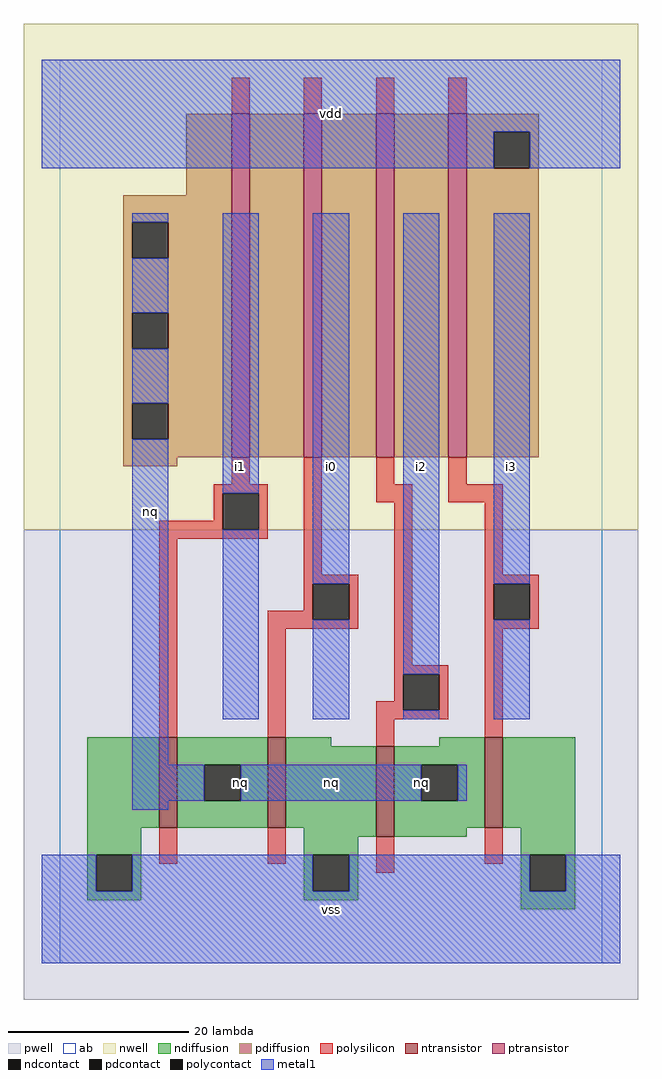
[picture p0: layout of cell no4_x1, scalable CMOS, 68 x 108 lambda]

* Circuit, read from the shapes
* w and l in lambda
.subckt no4_x1 i0 i1 i2 i3 nq vdd vss
M1 nq i1 vss VSUBS nfet w=10 l=2
M2 vss i0 nq VSUBS nfet w=10 l=2
M3 nq i2 vss VSUBS nfet w=10 l=2
M4 vss i3 nq VSUBS nfet w=10 l=2
M5 n1 i1 nq n2 pfet w=38 l=2
M6 n3 i0 n1 n2 pfet w=38 l=2
M7 n4 i2 n3 n2 pfet w=38 l=2
M8 vdd i3 n4 n2 pfet w=38 l=2
.ends

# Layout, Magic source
magic
tech scmos
<< ab >>
rect 0 0 60 100
<< pwell >>
rect -4 -4 64 48
<< nwell >>
rect -4 48 64 104
<< polysilicon >>
rect 19 94 21 98
rect 27 94 29 98
rect 35 94 37 98
rect 43 94 45 98
rect 19 53 21 56
rect 17 52 23 53
rect 17 49 18 52
rect 11 48 18 49
rect 22 48 23 52
rect 11 47 23 48
rect 11 25 13 47
rect 27 43 29 56
rect 35 53 37 56
rect 43 53 45 56
rect 35 51 39 53
rect 43 51 49 53
rect 27 42 33 43
rect 27 39 28 42
rect 23 38 28 39
rect 32 38 33 42
rect 23 37 33 38
rect 23 25 25 37
rect 37 33 39 51
rect 47 43 49 51
rect 47 42 53 43
rect 47 38 48 42
rect 52 38 53 42
rect 47 37 53 38
rect 37 32 43 33
rect 37 29 38 32
rect 35 28 38 29
rect 42 28 43 32
rect 35 27 43 28
rect 35 24 37 27
rect 47 25 49 37
rect 11 11 13 15
rect 23 11 25 15
rect 35 10 37 14
rect 47 11 49 15
<< ndiffusion >>
rect 3 15 11 25
rect 13 22 23 25
rect 13 18 16 22
rect 20 18 23 22
rect 13 15 23 18
rect 25 24 30 25
rect 42 24 47 25
rect 25 15 35 24
rect 3 12 9 15
rect 3 8 4 12
rect 8 8 9 12
rect 27 14 35 15
rect 37 22 47 24
rect 37 18 40 22
rect 44 18 47 22
rect 37 15 47 18
rect 49 15 57 25
rect 37 14 45 15
rect 27 12 33 14
rect 3 7 9 8
rect 27 8 28 12
rect 32 8 33 12
rect 51 12 57 15
rect 27 7 33 8
rect 51 8 52 12
rect 56 8 57 12
rect 51 6 57 8
<< pdiffusion >>
rect 14 85 19 94
rect 7 82 19 85
rect 7 78 8 82
rect 12 78 19 82
rect 7 72 19 78
rect 7 68 8 72
rect 12 68 19 72
rect 7 62 19 68
rect 7 58 8 62
rect 12 58 19 62
rect 7 56 19 58
rect 21 56 27 94
rect 29 56 35 94
rect 37 56 43 94
rect 45 92 53 94
rect 45 88 48 92
rect 52 88 53 92
rect 45 56 53 88
rect 7 55 13 56
<< metal1 >>
rect -2 92 62 100
rect -2 88 48 92
rect 52 88 62 92
rect 8 82 12 83
rect 8 72 12 78
rect 8 62 12 68
rect 8 22 12 58
rect 18 52 22 83
rect 18 27 22 48
rect 28 42 32 83
rect 28 27 32 38
rect 38 32 42 83
rect 38 27 42 28
rect 48 42 52 83
rect 48 27 52 38
rect 8 18 16 22
rect 20 18 40 22
rect 44 18 45 22
rect 8 17 12 18
rect -2 8 4 12
rect 8 8 28 12
rect 32 8 52 12
rect 56 8 62 12
rect -2 0 62 8
<< ntransistor >>
rect 11 15 13 25
rect 23 15 25 25
rect 35 14 37 24
rect 47 15 49 25
<< ptransistor >>
rect 19 56 21 94
rect 27 56 29 94
rect 35 56 37 94
rect 43 56 45 94
<< polycontact >>
rect 18 48 22 52
rect 28 38 32 42
rect 48 38 52 42
rect 38 28 42 32
<< ndcontact >>
rect 16 18 20 22
rect 4 8 8 12
rect 40 18 44 22
rect 28 8 32 12
rect 52 8 56 12
<< pdcontact >>
rect 8 78 12 82
rect 8 68 12 72
rect 8 58 12 62
rect 48 88 52 92
<< labels >>
rlabel metal1 10 50 10 50 6 nq
rlabel metal1 20 20 20 20 6 nq
rlabel metal1 20 55 20 55 6 i1
rlabel metal1 30 20 30 20 6 nq
rlabel metal1 30 6 30 6 6 vss
rlabel metal1 40 20 40 20 6 nq
rlabel metal1 30 55 30 55 6 i0
rlabel metal1 40 55 40 55 6 i2
rlabel metal1 30 94 30 94 6 vdd
rlabel metal1 50 55 50 55 6 i3
<< end >>
